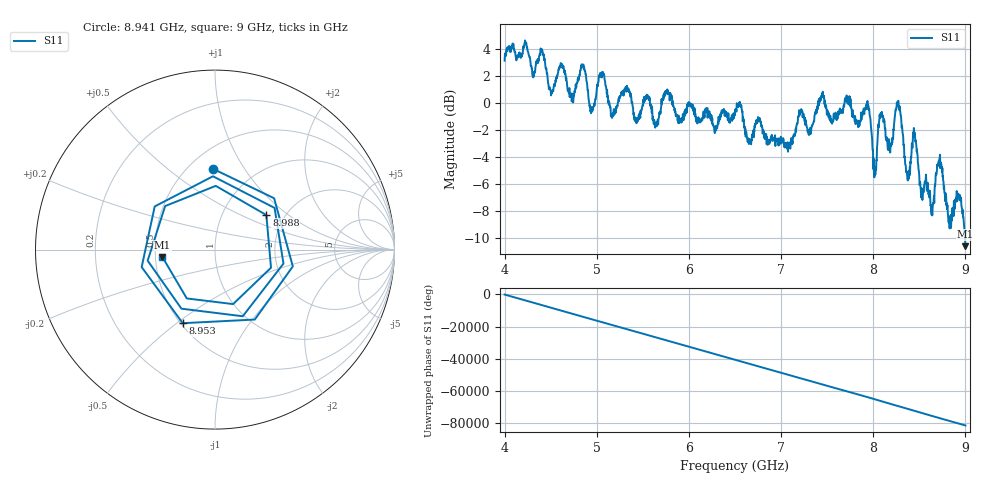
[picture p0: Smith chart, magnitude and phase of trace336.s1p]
! Created with skrf 1.8.0 (http://scikit-rf.org).
# Hz S RI R 50.0
!freq ReS11 ImS11
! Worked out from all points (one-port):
!   1601 points, 4 GHz to 9 GHz, reference 50 ohm
!   lowest |S11| = -10.6 dB at 9 GHz (marker M1), VSWR 1.84, Z = 27.3 - j2.48 ohm
!   |S11| at or under -10 dB: 8.995947 GHz to end of sweep
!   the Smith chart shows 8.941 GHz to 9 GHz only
!   S11 on the Smith chart (normalised r, x): 8.941 GHz: 0.65, +0.73; 8.953 GHz: 0.51, -0.53; 8.988 GHz: 1.61, +0.70; 9 GHz: 0.55, -0.05
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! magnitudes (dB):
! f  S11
! 4 GHz  3.2
! 4.4 GHz  3.9
! 4.506 GHz  0.7
! 4.625 GHz  2.9
! 4.731 GHz  0.3
! 4.853 GHz  2.9
! 4.944 GHz  -0.3
! 5.053 GHz  2.2
! 5.169 GHz  -0.9
! 5.25 GHz  0.4
! 5.875 GHz  -0.9
! 6.5 GHz  -0.6
! 7.125 GHz  -3.0
! 7.75 GHz  -0.2
! 7.944 GHz  -0.1
! 8.016 GHz  -5.0
! 8.081 GHz  -0.7
! 8.181 GHz  -3.3
! 8.272 GHz  0.2
! 8.375 GHz  -5.7
! 8.444 GHz  -2.2
! 8.631 GHz  -8.1
! 8.719 GHz  -4.1
! 8.828 GHz  -9.3
! 8.941 GHz  -6.9
! 8.953 GHz  -7.0
! 8.988 GHz  -9.2
! 9 GHz  -10.6
